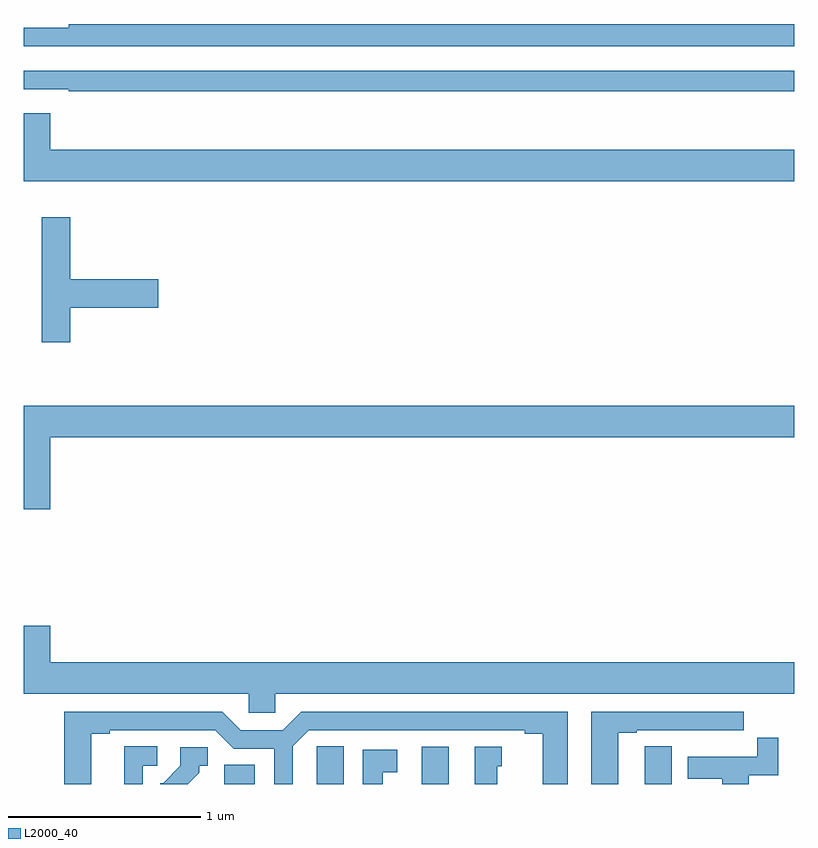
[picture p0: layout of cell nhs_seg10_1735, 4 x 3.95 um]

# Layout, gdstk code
import gdstk
lib = gdstk.Library(unit=1e-6, precision=1e-09)
def R(c, l, rs):  # rectangles x0, y0, x1, y1
    for r in rs: c.add(gdstk.rectangle(r[:2], r[2:], *l))
def P(c, l, *ps):  # polygons
    for p in ps: c.add(gdstk.Polygon(p, *l))
L2000_40 = (2000, 40)

nhs_seg10_1735 = lib.new_cell('nhs_seg10_1735')
R(nhs_seg10_1735, L2000_40, [(202.04,1314.5,202.198,1314.599), (203.066,1314.5,203.206,1314.694)])
P(nhs_seg10_1735, L2000_40, [(205,1318.448),(201.232,1318.448),(201.232,1318.429),(201,1318.429),(201,1318.332),(205,1318.332)],
  [(205,1318.206),(201,1318.206),(201,1318.11),(201.232,1318.11),(201.232,1318.098),(205,1318.098)],
  [(205,1317.796),(201.136,1317.796),(201.136,1317.985),(201,1317.985),(201,1317.632),(205,1317.632)],
  [(201.239,1316.975),(201.697,1316.975),(201.697,1317.122),(201.239,1317.122),(201.239,1317.445),(201.092,1317.445),(201.092,1316.796),(201.239,1316.796)],
  [(201.136,1316.3),(205,1316.3),(205,1316.464),(201,1316.464),(201,1315.926),(201.136,1315.926)],
  [(201.136,1315.321),(201,1315.321),(201,1314.968),(202.167,1314.968),(202.167,1314.87),(202.305,1314.87),(202.305,1314.968),(205,1314.968),(205,1315.132),(201.136,1315.132)],
  [(204.088,1314.765),(204.184,1314.765),(204.184,1314.78),(204.46,1314.78),(204.46,1314.779),(204.626,1314.779),(204.626,1314.78),(204.739,1314.78),(204.739,1314.876),(203.948,1314.876),(203.948,1314.5),(204.088,1314.5)],
  [(201.349,1314.76),(201.445,1314.76),(201.445,1314.78),(201.993,1314.78),(202.089,1314.684),(202.299,1314.684),(202.299,1314.5),(202.395,1314.5),(202.395,1314.696),(202.479,1314.78),(203.6,1314.78),(203.6,1314.76),(203.696,1314.76),(203.696,1314.5),(203.824,1314.5),(203.824,1314.876),(202.439,1314.876),(202.343,1314.78),(202.125,1314.78),(202.029,1314.876),(201.209,1314.876),(201.209,1314.5),(201.349,1314.5)],
  [(204.766,1314.546),(204.917,1314.546),(204.917,1314.739),(204.808,1314.739),(204.808,1314.642),(204.449,1314.642),(204.449,1314.526),(204.626,1314.526),(204.626,1314.5),(204.766,1314.5)],
  [(201.618,1314.594),(201.691,1314.594),(201.691,1314.695),(201.521,1314.695),(201.521,1314.5),(201.618,1314.5)],
  [(204.364,1314.695),(204.225,1314.695),(204.225,1314.587),(204.224,1314.587),(204.224,1314.5),(204.364,1314.5)],
  [(202.66,1314.695),(202.521,1314.695),(202.521,1314.587),(202.52,1314.587),(202.52,1314.5),(202.66,1314.5)],
  [(203.458,1314.591),(203.482,1314.591),(203.482,1314.694),(203.342,1314.694),(203.342,1314.5),(203.458,1314.5)],
  [(201.91,1314.559),(201.91,1314.594),(201.955,1314.594),(201.955,1314.69),(201.813,1314.69),(201.813,1314.594),(201.723,1314.504),(201.708,1314.504),(201.708,1314.5),(201.851,1314.5)],
  [(202.864,1314.562),(202.939,1314.562),(202.939,1314.678),(202.76,1314.678),(202.76,1314.5),(202.864,1314.5)])

lib.write_gds('nhs_seg10_1735.gds')
